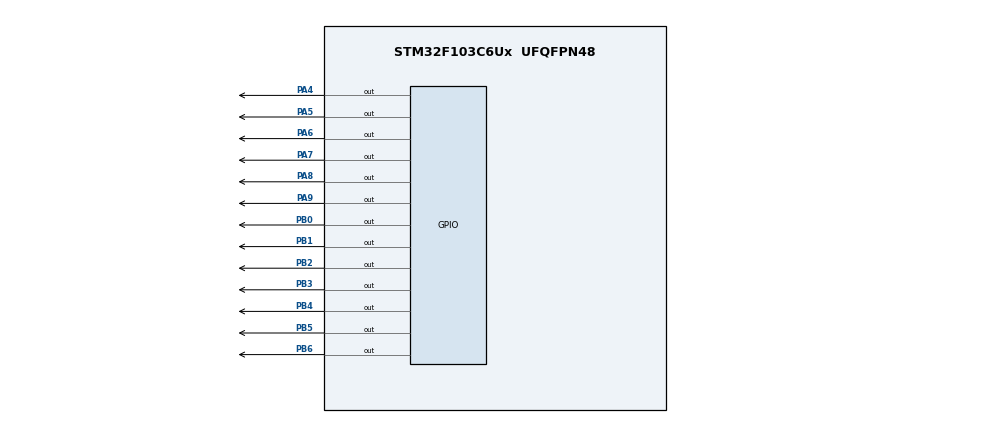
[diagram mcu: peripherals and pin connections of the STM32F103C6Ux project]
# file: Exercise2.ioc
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Mcu.Family=STM32F1
Mcu.Name=STM32F103C6Ux
Mcu.Package=UFQFPN48
NVIC.PriorityGroup=NVIC_PRIORITYGROUP_4
NVIC.TIM2_IRQn=true\:0\:0\:false\:false\:true\:true\:true\:true
PA4.Signal=GPIO_Output
PA5.Signal=GPIO_Output
PA6.Signal=GPIO_Output
PA7.Signal=GPIO_Output
PA8.Signal=GPIO_Output
PA9.Signal=GPIO_Output
PB0.Signal=GPIO_Output
PB1.Signal=GPIO_Output
PB2.Signal=GPIO_Output
PB3.Signal=GPIO_Output
PB4.Signal=GPIO_Output
PB5.Signal=GPIO_Output
PB6.Signal=GPIO_Output
ProjectManager.HeapSize=0x200
ProjectManager.StackSize=0x400
ProjectManager.TargetToolchain=STM32CubeIDE
RCC.APB1Freq_Value=8000000
RCC.APB2Freq_Value=8000000
TIM2.Period=9
TIM2.Prescaler=7999
VP_SYS_VS_ND.Mode=No_Debug
VP_TIM2_VS_ClockSourceINT.Mode=Internal
board=custom

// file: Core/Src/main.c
/* USER CODE BEGIN Header */
/**
  ******************************************************************************
  * @file           : main.c
  * @brief          : Main program body
  ******************************************************************************
  * @attention
  *
  * Copyright (c) 2025 STMicroelectronics.
  * All rights reserved.
  *
  * This software is licensed under terms that can be found in the LICENSE file
  * in the root directory of this software component.
  * If no LICENSE file comes with this software, it is provided AS-IS.
  *
  ******************************************************************************
  */
/* USER CODE END Header */
#include "main.h"

TIM_HandleTypeDef htim2;

void SystemClock_Config(void);
static void MX_GPIO_Init(void);
static void MX_TIM2_Init(void);

int main(void)
{

  /* MCU Configuration--------------------------------------------------------*/

  /* Reset of all peripherals, Initializes the Flash interface and the Systick. */
  HAL_Init();

  /* Configure the system clock */
  SystemClock_Config();

  /* Initialize all configured peripherals */
  MX_GPIO_Init();
  MX_TIM2_Init();
  /* USER CODE BEGIN 2 */
  HAL_TIM_Base_Start_IT(&htim2);
  /* USER CODE END 2 */

  /* Infinite loop */
  while (1)
  {

  }
}

void SystemClock_Config(void)
{
  RCC_OscInitTypeDef RCC_OscInitStruct = {0};
  RCC_ClkInitTypeDef RCC_ClkInitStruct = {0};

  /** Initializes the RCC Oscillators according to the specified parameters
  * in the RCC_OscInitTypeDef structure.
  */
  RCC_OscInitStruct.OscillatorType = RCC_OSCILLATORTYPE_HSI;
  RCC_OscInitStruct.HSIState = RCC_HSI_ON;
  RCC_OscInitStruct.HSICalibrationValue = RCC_HSICALIBRATION_DEFAULT;
  RCC_OscInitStruct.PLL.PLLState = RCC_PLL_NONE;
  if (HAL_RCC_OscConfig(&RCC_OscInitStruct) != HAL_OK)
  {
    Error_Handler();
  }

  /** Initializes the CPU, AHB and APB buses clocks
  */
  RCC_ClkInitStruct.ClockType = RCC_CLOCKTYPE_HCLK|RCC_CLOCKTYPE_SYSCLK
                              |RCC_CLOCKTYPE_PCLK1|RCC_CLOCKTYPE_PCLK2;
  RCC_ClkInitStruct.SYSCLKSource = RCC_SYSCLKSOURCE_HSI;
  RCC_ClkInitStruct.AHBCLKDivider = RCC_SYSCLK_DIV1;
  RCC_ClkInitStruct.APB1CLKDivider = RCC_HCLK_DIV1;
  RCC_ClkInitStruct.APB2CLKDivider = RCC_HCLK_DIV1;

  if (HAL_RCC_ClockConfig(&RCC_ClkInitStruct, FLASH_LATENCY_0) != HAL_OK)
  {
    Error_Handler();
  }
}

static void MX_TIM2_Init(void)
{

  TIM_ClockConfigTypeDef sClockSourceConfig = {0};
  TIM_MasterConfigTypeDef sMasterConfig = {0};

  htim2.Instance = TIM2;
  htim2.Init.Prescaler = 7999;
  htim2.Init.CounterMode = TIM_COUNTERMODE_UP;
  htim2.Init.Period = 9;
  htim2.Init.ClockDivision = TIM_CLOCKDIVISION_DIV1;
  htim2.Init.AutoReloadPreload = TIM_AUTORELOAD_PRELOAD_DISABLE;
  if (HAL_TIM_Base_Init(&htim2) != HAL_OK)
  {
    Error_Handler();
  }
  sClockSourceConfig.ClockSource = TIM_CLOCKSOURCE_INTERNAL;
  if (HAL_TIM_ConfigClockSource(&htim2, &sClockSourceConfig) != HAL_OK)
  {
    Error_Handler();
  }
  sMasterConfig.MasterOutputTrigger = TIM_TRGO_RESET;
  sMasterConfig.MasterSlaveMode = TIM_MASTERSLAVEMODE_DISABLE;
  if (HAL_TIMEx_MasterConfigSynchronization(&htim2, &sMasterConfig) != HAL_OK)
  {
    Error_Handler();
  }

}

static void MX_GPIO_Init(void)
{
  GPIO_InitTypeDef GPIO_InitStruct = {0};

  /* GPIO Ports Clock Enable */
  __HAL_RCC_GPIOA_CLK_ENABLE();
  __HAL_RCC_GPIOB_CLK_ENABLE();

  /*Configure GPIO pin Output Level */
  HAL_GPIO_WritePin(GPIOA, GPIO_PIN_4|GPIO_PIN_5|GPIO_PIN_6|GPIO_PIN_7
                          |GPIO_PIN_8|GPIO_PIN_9, GPIO_PIN_RESET);

  /*Configure GPIO pin Output Level */
  HAL_GPIO_WritePin(GPIOB, GPIO_PIN_0|GPIO_PIN_1|GPIO_PIN_2|GPIO_PIN_3
                          |GPIO_PIN_4|GPIO_PIN_5|GPIO_PIN_6, GPIO_PIN_RESET);

  /*Configure GPIO pins : PA4 PA5 PA6 PA7
                           PA8 PA9 */
  GPIO_InitStruct.Pin = GPIO_PIN_4|GPIO_PIN_5|GPIO_PIN_6|GPIO_PIN_7
                          |GPIO_PIN_8|GPIO_PIN_9;
  GPIO_InitStruct.Mode = GPIO_MODE_OUTPUT_PP;
  GPIO_InitStruct.Pull = GPIO_NOPULL;
  GPIO_InitStruct.Speed = GPIO_SPEED_FREQ_LOW;
  HAL_GPIO_Init(GPIOA, &GPIO_InitStruct);

  /*Configure GPIO pins : PB0 PB1 PB2 PB3
                           PB4 PB5 PB6 */
  GPIO_InitStruct.Pin = GPIO_PIN_0|GPIO_PIN_1|GPIO_PIN_2|GPIO_PIN_3
                          |GPIO_PIN_4|GPIO_PIN_5|GPIO_PIN_6;
  GPIO_InitStruct.Mode = GPIO_MODE_OUTPUT_PP;
  GPIO_InitStruct.Pull = GPIO_NOPULL;
  GPIO_InitStruct.Speed = GPIO_SPEED_FREQ_LOW;
  HAL_GPIO_Init(GPIOB, &GPIO_InitStruct);

}

/* USER CODE BEGIN 4 */
void display7SEG(int num){
  switch(num){
      case 0:
          HAL_GPIO_WritePin(GPIOB, GPIO_PIN_0 | GPIO_PIN_1 | GPIO_PIN_2 | GPIO_PIN_3 | GPIO_PIN_4 | GPIO_PIN_5, RESET);
          HAL_GPIO_WritePin(GPIOB,  GPIO_PIN_6, SET);
          break;
      case 1:
          HAL_GPIO_WritePin(GPIOB, GPIO_PIN_1 | GPIO_PIN_2, RESET);
          HAL_GPIO_WritePin(GPIOB,  GPIO_PIN_0 | GPIO_PIN_3 | GPIO_PIN_4 | GPIO_PIN_5 | GPIO_PIN_6, SET);
          break;
      case 2:
          HAL_GPIO_WritePin(GPIOB, GPIO_PIN_0 | GPIO_PIN_1 | GPIO_PIN_3 | GPIO_PIN_4 | GPIO_PIN_6, RESET);
          HAL_GPIO_WritePin(GPIOB,  GPIO_PIN_2 | GPIO_PIN_5, SET);
          break;
      case 3:
          HAL_GPIO_WritePin(GPIOB, GPIO_PIN_0 | GPIO_PIN_1 | GPIO_PIN_3 | GPIO_PIN_2 | GPIO_PIN_6, RESET);
          HAL_GPIO_WritePin(GPIOB,  GPIO_PIN_4 | GPIO_PIN_5, SET);
          break;
      case 4:
          HAL_GPIO_WritePin(GPIOB, GPIO_PIN_1 | GPIO_PIN_2 | GPIO_PIN_5 | GPIO_PIN_6, RESET);
          HAL_GPIO_WritePin(GPIOB,  GPIO_PIN_0 | GPIO_PIN_3 | GPIO_PIN_4, SET);
          break;
      case 5:
          HAL_GPIO_WritePin(GPIOB, GPIO_PIN_0 | GPIO_PIN_5 | GPIO_PIN_3 | GPIO_PIN_2 | GPIO_PIN_6, RESET);
          HAL_GPIO_WritePin(GPIOB,  GPIO_PIN_4 | GPIO_PIN_1, SET);
          break;
      case 6:
          HAL_GPIO_WritePin(GPIOB, GPIO_PIN_0 | GPIO_PIN_5 | GPIO_PIN_3 | GPIO_PIN_4 | GPIO_PIN_2 | GPIO_PIN_6, RESET);
          HAL_GPIO_WritePin(GPIOB, GPIO_PIN_1, SET);
          break;
      case 7:
          HAL_GPIO_WritePin(GPIOB, GPIO_PIN_0 | GPIO_PIN_1 | GPIO_PIN_2, RESET);
          HAL_GPIO_WritePin(GPIOB, GPIO_PIN_3 | GPIO_PIN_4 | GPIO_PIN_5 | GPIO_PIN_6, SET);
          break;
      case 8:
          HAL_GPIO_WritePin(GPIOB, GPIO_PIN_0 | GPIO_PIN_1 | GPIO_PIN_2 | GPIO_PIN_3 | GPIO_PIN_4 | GPIO_PIN_5 | GPIO_PIN_6, RESET);
          break;
      case 9:
          HAL_GPIO_WritePin(GPIOB, GPIO_PIN_0 | GPIO_PIN_1 | GPIO_PIN_2 | GPIO_PIN_3 | GPIO_PIN_5 | GPIO_PIN_6, RESET);
          HAL_GPIO_WritePin(GPIOB, GPIO_PIN_4, SET);
          break;
      default:
          HAL_GPIO_WritePin(GPIOB, GPIO_PIN_0 | GPIO_PIN_1 | GPIO_PIN_2 | GPIO_PIN_3 | GPIO_PIN_4 | GPIO_PIN_5 | GPIO_PIN_6, SET);
          break;
  }
}

int display_counter = 0;
int blink_counter = 0;
int on = 1;
void HAL_TIM_PeriodElapsedCallback(TIM_HandleTypeDef *htim){
	if(display_counter <= 0){
		switch(on){
		case 1:
			HAL_GPIO_WritePin(GPIOA, GPIO_PIN_6, GPIO_PIN_RESET);
			HAL_GPIO_WritePin(GPIOA, GPIO_PIN_7 | GPIO_PIN_8 | GPIO_PIN_9, GPIO_PIN_SET);
			display7SEG(1);
			on = 2;
			break;
		case 2:
			HAL_GPIO_WritePin(GPIOA, GPIO_PIN_7, GPIO_PIN_RESET);
			HAL_GPIO_WritePin(GPIOA, GPIO_PIN_6 | GPIO_PIN_8 | GPIO_PIN_9, GPIO_PIN_SET);
			display7SEG(2);
			on = 3;
			break;
		case 3:
			HAL_GPIO_WritePin(GPIOA, GPIO_PIN_8, GPIO_PIN_RESET);
			HAL_GPIO_WritePin(GPIOA, GPIO_PIN_6 | GPIO_PIN_7 | GPIO_PIN_9, GPIO_PIN_SET);
			display7SEG(3);
			on = 4;
			break;
		case 4:
			HAL_GPIO_WritePin(GPIOA, GPIO_PIN_9, GPIO_PIN_RESET);
			HAL_GPIO_WritePin(GPIOA, GPIO_PIN_6 | GPIO_PIN_7 | GPIO_PIN_8, GPIO_PIN_SET);
			display7SEG(0);
			on = 1;
			break;
		}
		if(blink_counter >= 2){
			blink_counter = 0;
			HAL_GPIO_TogglePin(GPIOA, GPIO_PIN_4);
		}
		blink_counter++;
		HAL_GPIO_TogglePin(GPIOA, GPIO_PIN_5);
		display_counter = 50;
	}
	display_counter--;
}
/* USER CODE END 4 */

void Error_Handler(void)
{
  __disable_irq();
  while (1)
  {
  }
}
